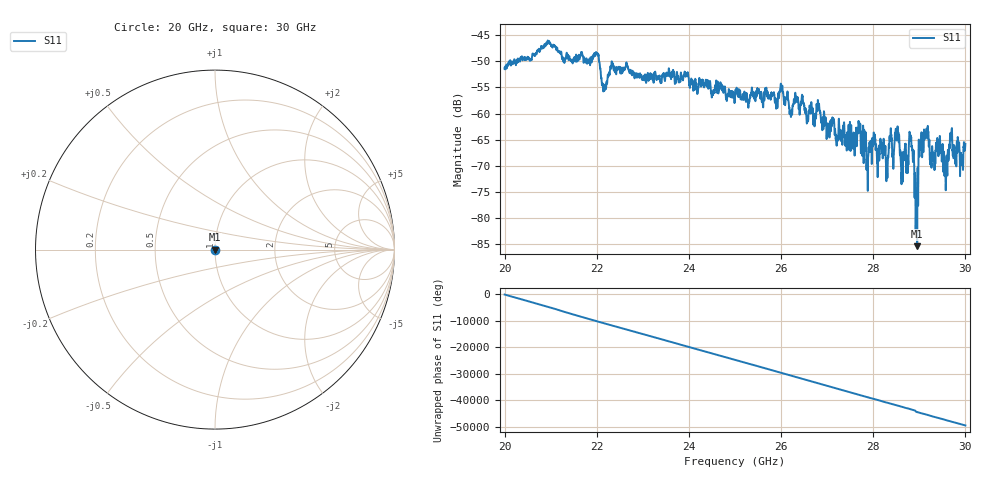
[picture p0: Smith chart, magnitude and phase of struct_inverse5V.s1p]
#  HZ  S  RI  R  50.00
! Rohde & Schwarz ZVA40 4Ports - Version 3.90 - 1145.1110k42 SN: 100403
! Date: 2023-09-28 11:01:33
! Measurement: S12
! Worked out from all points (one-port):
!   5001 points, 20 GHz to 30 GHz, reference 50 ohm
!   lowest |S11| = -85.4 dB at 28.95 GHz (marker M1), VSWR 1.00, Z = 50 - j0.0035 ohm
!   |S11| at or under -10 dB: start of sweep to end of sweep
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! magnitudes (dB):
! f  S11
! 20 GHz  -51.4
! 20.95 GHz  -46.2
! 21.25 GHz  -49.5
! 21.99 GHz  -48.6
! 22.16 GHz  -54.6
! 22.5 GHz  -51.2
! 23.75 GHz  -53.1
! 25 GHz  -56.5
! 26.01 GHz  -55.3
! 26.25 GHz  -58.4
! 26.81 GHz  -58.5
! 27.03 GHz  -62.9
! 27.5 GHz  -63.0
! 28.29 GHz  -72.9
! 28.52 GHz  -63.6
! 28.62 GHz  -71.5
! 28.75 GHz  -71.0
! 28.83 GHz  -66.0
! 28.91 GHz  -71.4
! 28.95 GHz  -85.4
! 29.03 GHz  -66.8
! 29.15 GHz  -63.8
! 29.28 GHz  -66.6
! 29.41 GHz  -68.1
! 29.56 GHz  -70.6
! 29.67 GHz  -64.2
! 29.92 GHz  -69.3
! 30 GHz  -65.8
